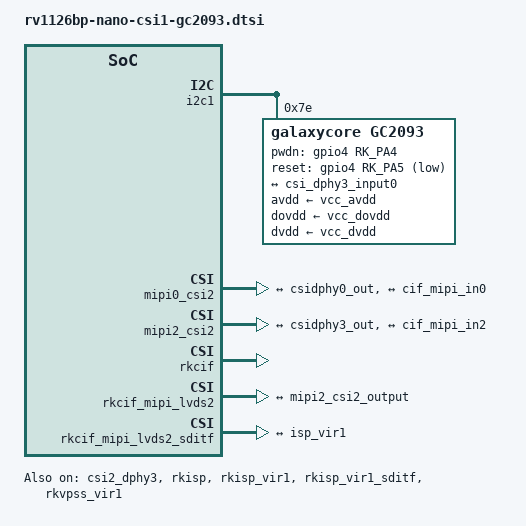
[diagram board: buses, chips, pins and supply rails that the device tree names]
// SPDX-License-Identifier: (GPL-2.0+ OR MIT)
/*
 * Copyright (c) 2025 Guangzhou EASY EAI Technology Co., Ltd.
 */

/*
 * csi2_dphy0 -> csi0(rx0) clk0 + 4 lane
 * csi2_dphy1 -> csi0(rx0) clk0 + 2 lane 0/1
 * csi2_dphy2 -> csi0(rx0) clk1 + 2 lane 2/3
 * csi2_dphy3 -> csi1(rx1) clk0 + 4 lane
 * csi2_dphy4 -> csi1(rx1) clk0 + 2 lane 0/1
 * csi2_dphy5 -> csi1(rx1) clk1 + 2 lane 2/3
 */

&csi2_dphy3 {
	status = "okay";

	ports {
		#address-cells = <1>;
		#size-cells = <0>;
		port@0 {
			reg = <0>;
			#address-cells = <1>;
			#size-cells = <0>;

			csi_dphy3_input0: endpoint@1 {
				reg = <1>;
				remote-endpoint = <&gc2093_out>;
				data-lanes = <1 2>;
			};
		};
		port@1 {
			reg = <1>;
			#address-cells = <1>;
			#size-cells = <0>;

			csidphy3_out: endpoint@0 {
				reg = <0>;
				remote-endpoint = <&mipi2_csi2_input>;
				data-lanes = <1 2>;
			};
		};
	};
};

&i2c1 {
	status = "okay";
	pinctrl-0 = <&i2c1m2_pins>;

	gc2093: gc2093@7e {
		compatible = "galaxycore,gc2093";
		reg = <0x7e>;
		clocks = <&cru CLK_MIPI1_OUT2IO>;
		clock-names = "xvclk";

		pwdn-gpios = <&gpio4 RK_PA4 GPIO_ACTIVE_HIGH>;
		reset-gpios = <&gpio4 RK_PA5 GPIO_ACTIVE_LOW>;
		pinctrl-names = "default";
		pinctrl-0 = <&cam_clk1_pins &csi1_pwdn &csi1_rst>;

		avdd-supply = <&vcc_avdd>;
		dovdd-supply = <&vcc_dovdd>;
		dvdd-supply = <&vcc_dvdd>;

		rockchip,camera-module-index = <1>;
		rockchip,camera-module-facing = "front";
		rockchip,camera-module-name = "YT-RV1109-2-V1";
		rockchip,camera-module-lens-name = "40IR-2MP-F20";
		port {
			gc2093_out: endpoint {
				remote-endpoint = <&csi_dphy3_input0>;
				data-lanes = <1 2>;
			};
		};
	};
};

&mipi0_csi2 {
	status = "okay";

	ports {
		#address-cells = <1>;
		#size-cells = <0>;

		port@0 {
			reg = <0>;
			#address-cells = <1>;
			#size-cells = <0>;

			mipi0_csi2_input: endpoint@1 {
				reg = <1>;
				remote-endpoint = <&csidphy0_out>;
			};
		};

		port@1 {
			reg = <1>;
			#address-cells = <1>;
			#size-cells = <0>;

			mipi0_csi2_output: endpoint@0 {
				reg = <0>;
				remote-endpoint = <&cif_mipi_in0>;
			};
		};
	};
};

&mipi2_csi2 {
	status = "okay";

	ports {
		#address-cells = <1>;
		#size-cells = <0>;

		port@0 {
			reg = <0>;
			#address-cells = <1>;
			#size-cells = <0>;

			mipi2_csi2_input: endpoint@1 {
				reg = <1>;
				remote-endpoint = <&csidphy3_out>;
			};
		};

		port@1 {
			reg = <1>;
			#address-cells = <1>;
			#size-cells = <0>;

			mipi2_csi2_output: endpoint@0 {
				reg = <0>;
				remote-endpoint = <&cif_mipi_in2>;
			};
		};
	};
};

&rk809 {
	regulators {
		vcc_dvdd: LDO_REG6 {
			regulator-min-microvolt = <1200000>;
			regulator-max-microvolt = <1200000>;
		};

		vcc_avdd: LDO_REG7 {
			regulator-min-microvolt = <3300000>;
			regulator-max-microvolt = <3300000>;
		};
	};
};

&pinctrl {
	mipi-csi {
		/omit-if-no-ref/
		csi1_rst: csi1_rst {
			rockchip,pins =
				<4 RK_PA5 RK_FUNC_GPIO &pcfg_pull_up>;
		};

		/omit-if-no-ref/
		csi1_pwdn: csi1_pwdn {
			rockchip,pins =
				<4 RK_PA4 RK_FUNC_GPIO &pcfg_pull_up>;
		};
	};
};

&rkcif {
	status = "okay";
};

&rkcif_mipi_lvds2 {
	status = "okay";

	port {
		cif_mipi_in2: endpoint {
			remote-endpoint = <&mipi2_csi2_output>;
		};
	};
};

&rkcif_mipi_lvds2_sditf {
	status = "okay";

	port {
		mipi_lvds2_sditf: endpoint {
			remote-endpoint = <&isp_vir1>;
		};
	};
};

&rkcif_mmu {
	status = "okay";
};

&rkisp {
	status = "okay";
};

&rkisp_mmu {
	status = "okay";
};

&rkisp_vir1 {
	status = "okay";

	port {
		#address-cells = <1>;
		#size-cells = <0>;

		isp_vir1: endpoint@0 {
			reg = <0>;
			remote-endpoint = <&mipi_lvds2_sditf>;
		};
	};
};

&rkisp_vir1_sditf {
	status = "okay";
};

&rkvpss_vir1 {
	status = "okay";
};
